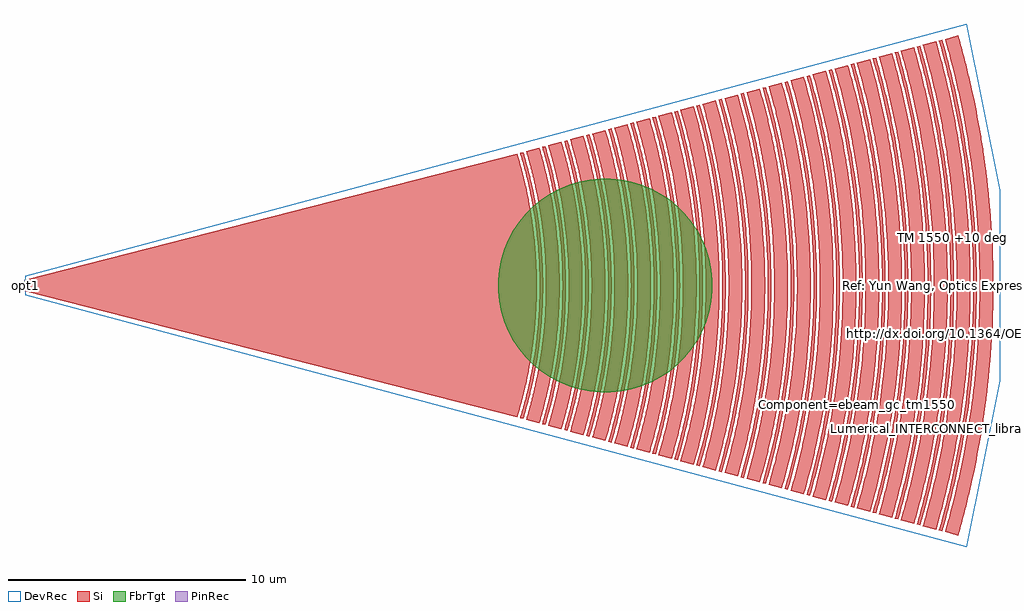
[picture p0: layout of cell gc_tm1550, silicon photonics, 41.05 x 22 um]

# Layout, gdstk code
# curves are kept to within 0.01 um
import gdstk
lib = gdstk.Library(unit=1e-6, precision=1e-09)
def R(c, l, rs):  # rectangles x0, y0, x1, y1
    for r in rs: c.add(gdstk.rectangle(r[:2], r[2:], *l))
def P(c, l, *ps):  # polygons
    for p in ps: c.add(gdstk.Polygon(p, *l))
Si = (1, 0)
PinRec = (1, 10)
DevRec = (68, 0)
FbrTgt = (81, 0)

gc_tm1550 = lib.new_cell('gc_tm1550')
P(gc_tm1550, Si, [(102.697,-5.546),(82,-0.25),(82,0.25),(102.697,5.546),(102.881,4.898),(103.042,4.243),(103.159,3.693),(103.295,2.917),(103.386,2.248),(103.449,1.632),(103.5,0.845),(103.518,0.169),(103.512,-0.507),(103.471,-1.351),(103.399,-2.136),(103.32,-2.75),(103.201,-3.472),(103.067,-4.133),(102.881,-4.898)],
  [(102.951,-5.614),(102.815,-5.577),(103.015,-4.871),(103.223,-3.991),(103.371,-3.213),(103.508,-2.261),(103.611,-1.076),(103.641,-0.057),(103.611,1.076),(103.508,2.261),(103.371,3.213),(103.223,3.991),(103.015,4.871),(102.815,5.577),(102.951,5.614),(103.151,4.903),(103.312,4.239),(103.46,3.514),(103.572,2.84),(103.66,2.162),(103.733,1.367),(103.767,0.741),(103.781,0.057),(103.771,-0.627),(103.733,-1.367),(103.66,-2.162),(103.572,-2.84),(103.46,-3.514),(103.312,-4.239),(103.151,-4.903)],
  [(103.624,-5.794),(103.069,-5.645),(103.381,-4.486),(103.621,-3.308),(103.782,-2.174),(103.833,-1.661),(103.882,-0.917),(103.903,-0.172),(103.887,0.803),(103.833,1.661),(103.748,2.459),(103.621,3.308),(103.481,4.039),(103.285,4.875),(103.069,5.645),(103.624,5.794),(103.816,5.117),(104.009,4.318),(104.159,3.569),(104.255,2.989),(104.341,2.348),(104.416,1.587),(104.459,0.882),(104.478,0.177),(104.47,-0.588),(104.437,-1.294),(104.367,-2.114),(104.272,-2.873),(104.159,-3.569),(104.009,-4.318),(103.816,-5.117)],
  [(103.878,-5.862),(103.743,-5.826),(103.95,-5.088),(104.154,-4.226),(104.32,-3.356),(104.441,-2.537),(104.507,-1.949),(104.563,-1.242),(104.601,-0.059),(104.594,0.532),(104.563,1.242),(104.507,1.949),(104.441,2.537),(104.32,3.356),(104.154,4.226),(103.95,5.088),(103.743,5.826),(103.878,5.862),(104.116,5.004),(104.279,4.31),(104.418,3.611),(104.524,2.965),(104.622,2.198),(104.691,1.428),(104.724,0.833),(104.741,0.06),(104.734,-0.536),(104.691,-1.428),(104.622,-2.198),(104.524,-2.965),(104.418,-3.611),(104.279,-4.31),(104.116,-5.004)],
  [(104.552,-6.043),(103.996,-5.894),(104.16,-5.32),(104.334,-4.625),(104.56,-3.513),(104.654,-2.922),(104.744,-2.21),(104.8,-1.614),(104.844,-0.898),(104.863,-0.18),(104.849,0.778),(104.8,1.614),(104.702,2.566),(104.56,3.513),(104.412,4.275),(104.25,4.973),(103.996,5.894),(104.552,6.043),(104.735,5.395),(104.911,4.682),(105.062,3.963),(105.188,3.238),(105.281,2.57),(105.378,1.594),(105.421,0.859),(105.438,0.184),(105.433,-0.491),(105.387,-1.471),(105.329,-2.144),(105.233,-2.935),(105.128,-3.601),(104.951,-4.503),(104.766,-5.277)],
  [(104.805,-6.111),(104.67,-6.074),(104.885,-5.304),(105.11,-4.346),(105.28,-3.438),(105.395,-2.645),(105.469,-1.971),(105.525,-1.233),(105.561,-0.062),(105.554,0.555),(105.525,1.233),(105.469,1.971),(105.395,2.645),(105.28,3.438),(105.11,4.346),(104.885,5.304),(104.67,6.074),(104.805,6.111),(105.006,5.396),(105.168,4.735),(105.309,4.068),(105.457,3.213),(105.542,2.599),(105.64,1.612),(105.686,0.806),(105.701,0.062),(105.686,-0.806),(105.649,-1.488),(105.584,-2.229),(105.493,-2.968),(105.366,-3.763),(105.195,-4.614),(105.006,-5.396)],
  [(105.479,-6.291),(104.923,-6.142),(105.061,-5.664),(105.26,-4.88),(105.519,-3.599),(105.606,-3.045),(105.706,-2.241),(105.767,-1.558),(105.806,-0.873),(105.823,-0.187),(105.806,0.873),(105.742,1.869),(105.656,2.674),(105.519,3.599),(105.368,4.394),(105.141,5.364),(104.923,6.142),(105.479,6.291),(105.701,5.494),(105.893,4.688),(106.043,3.937),(106.167,3.182),(106.243,2.612),(106.336,1.659),(106.383,0.83),(106.398,0.128),(106.383,-0.83),(106.345,-1.532),(106.285,-2.231),(106.167,-3.182),(106.043,-3.937),(105.893,-4.688),(105.701,-5.494)],
  [(105.732,-6.359),(105.597,-6.323),(105.852,-5.397),(106.04,-4.586),(106.219,-3.641),(106.357,-2.689),(106.437,-1.923),(106.484,-1.283),(106.521,-0.064),(106.512,0.642),(106.484,1.283),(106.437,1.923),(106.357,2.689),(106.219,3.641),(106.04,4.586),(105.852,5.397),(105.597,6.323),(105.732,6.359),(105.957,5.553),(106.094,4.99),(106.266,4.17),(106.418,3.28),(106.526,2.448),(106.598,1.677),(106.64,0.968),(106.661,0.065),(106.645,-0.839),(106.598,-1.677),(106.526,-2.448),(106.418,-3.28),(106.302,-3.98),(106.094,-4.99),(105.957,-5.553)],
  [(106.406,-6.54),(105.851,-6.391),(106.06,-5.643),(106.214,-5.014),(106.468,-3.744),(106.585,-2.975),(106.655,-2.396),(106.725,-1.621),(106.765,-0.908),(106.783,-0.13),(106.765,0.908),(106.71,1.815),(106.61,2.782),(106.468,3.744),(106.298,4.635),(106.092,5.518),(105.851,6.391),(106.406,6.54),(106.603,5.838),(106.821,4.937),(107.002,4.027),(107.119,3.307),(107.22,2.517),(107.308,1.526),(107.347,0.73),(107.358,0.133),(107.347,-0.73),(107.308,-1.526),(107.22,-2.517),(107.119,-3.307),(107.002,-4.027),(106.821,-4.937),(106.603,-5.838)],
  [(106.66,-6.608),(106.525,-6.571),(106.772,-5.674),(106.997,-4.701),(107.19,-3.652),(107.303,-2.861),(107.43,-1.533),(107.465,-0.867),(107.481,-0.067),(107.465,0.867),(107.43,1.533),(107.303,2.861),(107.19,3.652),(106.997,4.701),(106.772,5.674),(106.525,6.571),(106.66,6.608),(106.892,5.77),(107.064,5.054),(107.213,4.332),(107.379,3.341),(107.481,2.543),(107.57,1.542),(107.607,0.805),(107.621,0.067),(107.607,-0.805),(107.57,-1.542),(107.481,-2.543),(107.379,-3.341),(107.213,-4.332),(107.064,-5.054),(106.892,-5.77)],
  [(107.333,-6.788),(106.778,-6.639),(106.943,-6.057),(107.139,-5.275),(107.282,-4.617),(107.439,-3.756),(107.538,-3.09),(107.631,-2.287),(107.692,-1.549),(107.727,-0.876),(107.743,-0.135),(107.727,0.876),(107.678,1.751),(107.572,2.823),(107.417,3.889),(107.241,4.815),(107.028,5.732),(106.778,6.639),(107.333,6.788),(107.537,6.06),(107.702,5.393),(107.874,4.586),(108.04,3.636),(108.16,2.749),(108.246,1.858),(108.302,0.895),(108.318,0.138),(108.302,-0.895),(108.266,-1.583),(108.19,-2.476),(108.09,-3.296),(107.962,-4.112),(107.777,-5.057),(107.554,-5.994)],
  [(107.587,-6.856),(107.452,-6.82),(107.708,-5.888),(107.926,-4.946),(108.129,-3.858),(108.257,-2.968),(108.339,-2.212),(108.393,-1.522),(108.429,-0.761),(108.441,-0.069),(108.429,0.761),(108.393,1.522),(108.339,2.212),(108.257,2.968),(108.129,3.858),(107.926,4.946),(107.708,5.888),(107.452,6.82),(107.587,6.856),(107.81,6.054),(108.02,5.176),(108.172,4.427),(108.321,3.535),(108.421,2.777),(108.508,1.877),(108.564,0.904),(108.581,0.07),(108.569,-0.765),(108.528,-1.599),(108.444,-2.57),(108.341,-3.398),(108.197,-4.29),(108.02,-5.176),(107.81,-6.054)],
  [(108.261,-7.037),(107.705,-6.888),(107.876,-6.284),(108.063,-5.54),(108.24,-4.721),(108.366,-4.034),(108.491,-3.206),(108.566,-2.581),(108.63,-1.886),(108.684,-0.978),(108.703,0.14),(108.678,1.118),(108.607,2.164),(108.509,3.067),(108.366,4.034),(108.184,4.995),(107.929,6.082),(107.705,6.888),(108.261,7.037),(108.489,6.213),(108.704,5.312),(108.898,4.332),(109.012,3.628),(109.106,2.921),(109.204,1.926),(109.264,0.857),(109.278,0.143),(109.264,-0.857),(109.229,-1.57),(109.153,-2.495),(109.052,-3.346),(108.898,-4.332),(108.704,-5.312),(108.489,-6.213)],
  [(108.514,-7.104),(108.379,-7.068),(108.626,-6.172),(108.869,-5.126),(109.067,-4.069),(109.202,-3.147),(109.289,-2.363),(109.351,-1.577),(109.391,-0.717),(109.401,-0.072),(109.391,0.717),(109.36,1.434),(109.289,2.363),(109.202,3.147),(109.067,4.069),(108.869,5.126),(108.626,6.172),(108.379,7.068),(108.514,7.104),(108.744,6.273),(108.946,5.433),(109.157,4.374),(109.293,3.52),(109.407,2.591),(109.471,1.873),(109.521,1.009),(109.541,0.072),(109.526,-0.865),(109.491,-1.585),(109.407,-2.591),(109.293,-3.52),(109.157,-4.374),(108.946,-5.433),(108.744,-6.273)],
  [(109.188,-7.285),(108.633,-7.136),(108.864,-6.301),(109.002,-5.739),(109.156,-5.033),(109.315,-4.18),(109.444,-3.321),(109.529,-2.602),(109.588,-1.953),(109.646,-0.941),(109.663,0.145),(109.637,1.158),(109.57,2.17),(109.444,3.321),(109.315,4.18),(109.127,5.175),(108.917,6.091),(108.633,7.136),(109.188,7.285),(109.442,6.361),(109.661,5.427),(109.806,4.703),(109.974,3.683),(110.069,2.95),(110.167,1.92),(110.218,1.035),(110.238,0.148),(110.226,-0.813),(110.192,-1.551),(110.109,-2.583),(109.995,-3.537),(109.871,-4.339),(109.661,-5.427),(109.442,-6.361)],
  [(109.442,-7.353),(109.306,-7.317),(109.543,-6.46),(109.797,-5.378),(109.992,-4.358),(110.146,-3.331),(110.231,-2.594),(110.305,-1.706),(110.346,-0.891),(110.361,-0.074),(110.346,0.891),(110.305,1.706),(110.231,2.594),(110.146,3.331),(109.992,4.358),(109.797,5.378),(109.543,6.46),(109.306,7.317),(109.442,7.353),(109.679,6.492),(109.871,5.696),(110.065,4.747),(110.213,3.865),(110.347,2.829),(110.429,1.938),(110.483,0.97),(110.501,0.075),(110.483,-0.97),(110.429,-1.938),(110.355,-2.755),(110.245,-3.643),(110.065,-4.747),(109.903,-5.55),(109.716,-6.348)],
  [(110.115,-7.533),(109.56,-7.385),(109.761,-6.665),(109.991,-5.72),(110.144,-4.988),(110.3,-4.103),(110.416,-3.288),(110.507,-2.469),(110.567,-1.722),(110.608,-0.899),(110.623,0.15),(110.596,1.199),(110.527,2.245),(110.416,3.288),(110.276,4.251),(110.07,5.355),(109.817,6.448),(109.56,7.385),(110.115,7.533),(110.377,6.577),(110.587,5.686),(110.78,4.713),(110.904,3.959),(111.024,3.051),(111.125,1.986),(111.174,1.146),(111.198,0.153),(111.183,-0.917),(111.141,-1.757),(111.065,-2.671),(110.937,-3.733),(110.78,-4.713),(110.587,-5.686),(110.377,-6.577)],
  [(110.369,-7.601),(110.234,-7.565),(110.515,-6.531),(110.755,-5.485),(110.953,-4.43),(111.109,-3.368),(111.209,-2.453),(111.268,-1.688),(111.308,-0.844),(111.321,-0.077),(111.308,0.844),(111.268,1.688),(111.209,2.453),(111.128,3.216),(110.978,4.279),(110.786,5.335),(110.552,6.382),(110.234,7.565),(110.369,7.601),(110.633,6.637),(110.828,5.813),(110.997,4.983),(111.164,3.995),(111.285,3.078),(111.381,2.08),(111.433,1.234),(111.461,0.077),(111.45,-0.771),(111.403,-1.773),(111.334,-2.618),(111.208,-3.69),(111.079,-4.528),(110.877,-5.587),(110.633,-6.637)],
  [(111.043,-7.782),(110.487,-7.633),(110.733,-6.739),(110.948,-5.837),(111.118,-5.003),(111.25,-4.241),(111.37,-3.398),(111.456,-2.629),(111.52,-1.857),(111.565,-1.007),(111.583,0.155),(111.562,1.084),(111.497,2.166),(111.37,3.398),(111.2,4.546),(111.013,5.534),(110.771,6.589),(110.487,7.633),(111.043,7.782),(111.293,6.871),(111.545,5.796),(111.741,4.79),(111.878,3.933),(112.013,2.837),(112.094,1.893),(112.145,0.868),(112.158,0.158),(112.145,-0.868),(112.094,-1.893),(112.013,-2.837),(111.9,-3.777),(111.741,-4.79),(111.545,-5.796),(111.293,-6.871)],
  [(111.296,-7.85),(111.161,-7.814),(111.451,-6.745),(111.73,-5.51),(111.928,-4.419),(112.082,-3.321),(112.158,-2.612),(112.236,-1.585),(112.27,-0.793),(112.281,-0.079),(112.27,0.793),(112.236,1.585),(112.158,2.612),(112.082,3.321),(111.928,4.419),(111.73,5.51),(111.451,6.745),(111.161,7.814),(111.296,7.85),(111.568,6.853),(111.803,5.847),(112.014,4.754),(112.138,3.968),(112.266,2.941),(112.356,1.91),(112.402,1.035),(112.421,0.08),(112.402,-1.035),(112.356,-1.91),(112.266,-2.941),(112.138,-3.968),(112.014,-4.754),(111.803,-5.847),(111.568,-6.853)],
  [(111.97,-8.03),(111.415,-7.882),(111.648,-7.036),(111.872,-6.105),(112.079,-5.087),(112.248,-4.063),(112.343,-3.35),(112.448,-2.316),(112.518,-1.199),(112.543,-0.16),(112.53,0.879),(112.478,1.917),(112.388,2.953),(112.248,4.063),(112.079,5.087),(111.872,6.105),(111.648,7.036),(111.415,7.882),(111.97,8.03),(112.187,7.247),(112.453,6.14),(112.646,5.183),(112.818,4.139),(112.924,3.332),(113.028,2.279),(113.096,1.14),(113.118,0.163),(113.102,-0.977),(113.052,-1.954),(112.977,-2.846),(112.841,-3.978),(112.689,-4.943),(112.47,-6.061),(112.227,-7.09)],
  [(112.223,-8.098),(112.088,-8.062),(112.367,-7.039),(112.641,-5.845),(112.824,-4.882),(113.006,-3.67),(113.107,-2.776),(113.185,-1.798),(113.227,-0.9),(113.241,-0.082),(113.227,0.9),(113.185,1.798),(113.107,2.776),(113.006,3.67),(112.824,4.882),(112.641,5.845),(112.367,7.039),(112.088,8.062),(112.223,8.098),(112.483,7.15),(112.745,6.032),(112.934,5.066),(113.09,4.093),(113.23,2.952),(113.314,1.97),(113.367,0.904),(113.381,0.082),(113.367,-0.904),(113.314,-1.97),(113.23,-2.952),(113.09,-4.093),(112.934,-5.066),(112.745,-6.032),(112.483,-7.15)],
  [(112.897,-8.279),(112.342,-8.13),(112.602,-7.178),(112.865,-6.055),(113.069,-5.004),(113.223,-4.027),(113.352,-2.964),(113.436,-1.978),(113.484,-1.072),(113.503,-0.165),(113.492,0.825),(113.436,1.978),(113.352,2.964),(113.223,4.027),(113.069,5.004),(112.865,6.055),(112.602,7.178),(112.342,8.13),(112.897,8.279),(113.162,7.309),(113.394,6.33),(113.577,5.426),(113.757,4.35),(113.907,3.185),(113.992,2.265),(114.052,1.259),(114.078,0.168),(114.064,-0.924),(114.01,-2.014),(113.907,-3.185),(113.793,-4.101),(113.622,-5.178),(113.394,-6.33),(113.162,-7.309)],
  [(113.151,-8.347),(113.016,-8.311),(113.302,-7.255),(113.584,-6.025),(113.8,-4.866),(113.97,-3.699),(114.079,-2.694),(114.138,-1.937),(114.184,-1.011),(114.201,-0.084),(114.184,1.011),(114.138,1.937),(114.079,2.694),(113.97,3.699),(113.8,4.866),(113.584,6.025),(113.302,7.255),(113.016,8.311),(113.151,8.347),(113.375,7.533),(113.633,6.465),(113.836,5.47),(114.017,4.386),(114.168,3.211),(114.26,2.199),(114.321,1.1),(114.341,0.085),(114.324,-1.016),(114.272,-2.03),(114.177,-3.127),(114.065,-4.051),(113.896,-5.137),(113.687,-6.217),(113.459,-7.205)],
  [(113.824,-8.527),(113.269,-8.379),(113.558,-7.315),(113.753,-6.489),(113.972,-5.408),(114.151,-4.318),(114.29,-3.223),(114.376,-2.292),(114.44,-1.19),(114.463,-0.17),(114.449,0.935),(114.4,1.953),(114.299,3.138),(114.175,4.15),(114.017,5.157),(113.807,6.24),(113.558,7.315),(113.269,8.379),(113.824,8.527),(114.097,7.528),(114.335,6.52),(114.539,5.503),(114.721,4.395),(114.862,3.28),(114.956,2.247),(115.018,1.124),(115.038,0.173),(115.024,-0.951),(114.974,-1.988),(114.889,-3.022),(114.757,-4.138),(114.599,-5.163),(114.371,-6.351),(114.139,-7.361)],
  [(114.078,-8.595),(113.943,-8.559),(114.279,-7.304),(114.527,-6.205),(114.749,-5.011),(114.934,-3.723),(115.043,-2.688),(115.107,-1.822),(115.149,-0.868),(115.161,-0.087),(115.149,0.868),(115.107,1.822),(115.043,2.688),(114.934,3.723),(114.749,5.011),(114.527,6.205),(114.279,7.304),(113.943,8.559),(114.078,8.595),(114.331,7.672),(114.592,6.572),(114.782,5.633),(114.981,4.43),(115.123,3.306),(115.218,2.265),(115.277,1.22),(115.301,0.087),(115.277,-1.22),(115.218,-2.265),(115.123,-3.306),(114.981,-4.43),(114.782,-5.633),(114.592,-6.572),(114.331,-7.672)],
  [(114.752,-8.776),(114.196,-8.627),(114.493,-7.531),(114.731,-6.511),(114.934,-5.482),(115.115,-4.36),(115.245,-3.318),(115.34,-2.273),(115.406,-1.05),(115.423,-0.175),(115.406,1.05),(115.358,2.011),(115.272,3.057),(115.115,4.36),(114.934,5.482),(114.731,6.511),(114.493,7.531),(114.196,8.627),(114.752,8.776),(115.053,7.661),(115.295,6.623),(115.517,5.489),(115.685,4.435),(115.817,3.375),(115.907,2.401),(115.974,1.246),(115.998,0.178),(115.986,-0.89),(115.92,-2.223),(115.836,-3.198),(115.685,-4.435),(115.517,-5.489),(115.295,-6.623),(115.053,-7.661)],
  [(115.005,-8.844),(114.87,-8.808),(115.194,-7.602),(115.452,-6.472),(115.698,-5.156),(115.866,-4.008),(115.984,-2.943),(116.06,-1.964),(116.106,-0.982),(116.121,-0.089),(116.106,0.982),(116.06,1.964),(115.984,2.943),(115.866,4.008),(115.698,5.156),(115.452,6.472),(115.194,7.602),(114.87,8.808),(115.005,8.844),(115.309,7.721),(115.571,6.586),(115.776,5.531),(115.945,4.469),(116.088,3.312),(116.182,2.24),(116.243,1.076),(116.261,0.09),(116.243,-1.076),(116.182,-2.24),(116.088,-3.312),(115.945,-4.469),(115.776,-5.531),(115.571,-6.586),(115.309,-7.721)],
  [(115.679,-9.024),(115.124,-8.875),(115.384,-7.922),(115.653,-6.786),(115.849,-5.816),(116.054,-4.574),(116.21,-3.324),(116.291,-2.428),(116.355,-1.35),(116.383,-0.18),(116.371,0.9),(116.322,1.979),(116.237,3.056),(116.079,4.396),(115.897,5.551),(115.691,6.61),(115.45,7.661),(115.124,8.875),(115.679,9.024),(115.966,7.967),(116.217,6.899),(116.432,5.824),(116.624,4.651),(116.782,3.38),(116.878,2.286),(116.937,1.189),(116.958,0.183),(116.943,-1.007),(116.896,-2.012),(116.818,-3.016),(116.662,-4.379),(116.48,-5.554),(116.255,-6.721),(115.966,-7.967)],
  [(115.933,-9.092),(115.797,-9.056),(116.13,-7.817),(116.413,-6.565),(116.647,-5.302),(116.831,-4.03),(116.957,-2.843),(117.024,-1.927),(117.068,-0.918),(117.081,-0.092),(117.068,0.918),(117.024,1.927),(116.957,2.843),(116.831,4.03),(116.647,5.302),(116.413,6.565),(116.13,7.817),(115.797,9.056),(115.933,9.092),(116.199,8.116),(116.494,6.861),(116.691,5.867),(116.884,4.685),(117.053,3.313),(117.14,2.303),(117.199,1.198),(117.221,0.092),(117.199,-1.198),(117.14,-2.303),(117.053,-3.313),(116.91,-4.503),(116.755,-5.505),(116.494,-6.861),(116.199,-8.116)],
  [(116.606,-9.273),(116.051,-9.124),(116.341,-8.055),(116.614,-6.885),(116.828,-5.797),(116.992,-4.793),(117.125,-3.785),(117.234,-2.68),(117.306,-1.572),(117.343,-0.185),(117.333,0.833),(117.286,1.942),(117.202,3.049),(117.044,4.427),(116.876,5.524),(116.614,6.885),(116.341,8.055),(116.051,9.124),(116.606,9.273),(116.946,8.004),(117.178,6.997),(117.395,5.891),(117.575,4.778),(117.728,3.566),(117.836,2.349),(117.889,1.41),(117.918,0.188),(117.908,-0.846),(117.86,-1.973),(117.766,-3.192),(117.627,-4.406),(117.428,-5.706),(117.178,-6.997),(116.946,-8.004)],
  [(116.86,-9.341),(116.725,-9.304),(117.043,-8.122),(117.337,-6.837),(117.596,-5.447),(117.773,-4.234),(117.888,-3.203),(117.971,-2.169),(118.022,-1.132),(118.041,-0.094),(118.028,0.943),(117.977,2.074),(117.888,3.203),(117.773,4.234),(117.596,5.447),(117.337,6.837),(117.043,8.122),(116.725,9.304),(116.86,9.341),(117.202,8.062),(117.455,6.956),(117.687,5.748),(117.849,4.72),(117.999,3.498),(118.098,2.366),(118.162,1.136),(118.181,0.095),(118.162,-1.136),(118.098,-2.366),(117.999,-3.498),(117.849,-4.72),(117.687,-5.748),(117.455,-6.956),(117.202,-8.062)],
  [(117.534,-9.521),(116.978,-9.372),(117.321,-8.09),(117.575,-6.98),(117.775,-5.955),(117.957,-4.83),(118.09,-3.793),(118.199,-2.658),(118.265,-1.615),(118.303,-0.19),(118.281,1.235),(118.22,2.374),(118.111,3.604),(117.957,4.83),(117.775,5.955),(117.575,6.98),(117.321,8.09),(116.978,9.372),(117.534,9.521),(117.835,8.405),(118.099,7.279),(118.325,6.144),(118.513,5.002),(118.662,3.853),(118.78,2.604),(118.852,1.351),(118.878,0.193),(118.865,-0.965),(118.807,-2.219),(118.703,-3.469),(118.567,-4.619),(118.392,-5.764),(118.159,-6.996),(117.882,-8.218)],
  [(117.787,-9.589),(117.652,-9.553),(117.978,-8.339),(118.299,-6.924),(118.545,-5.592),(118.714,-4.443),(118.825,-3.481),(118.923,-2.323),(118.978,-1.259),(119.001,-0.097),(118.978,1.259),(118.923,2.323),(118.825,3.481),(118.714,4.443),(118.545,5.592),(118.299,6.924),(117.978,8.339),(117.652,9.553),(117.787,9.589),(118.091,8.465),(118.377,7.236),(118.584,6.188),(118.787,4.941),(118.923,3.881),(119.049,2.526),(119.118,1.264),(119.141,0.097),(119.118,-1.264),(119.056,-2.429),(118.944,-3.687),(118.814,-4.749),(118.635,-5.901),(118.377,-7.236),(118.091,-8.465)],
  [(118.461,-9.77),(117.906,-9.621),(118.234,-8.398),(118.497,-7.26),(118.722,-6.112),(118.922,-4.861),(119.045,-3.894),(119.164,-2.631),(119.233,-1.463),(119.263,-0.195),(119.244,1.17),(119.185,2.339),(119.066,3.7),(118.922,4.861),(118.722,6.112),(118.497,7.26),(118.234,8.398),(117.906,9.621),(118.461,9.77),(118.77,8.624),(119.061,7.372),(119.289,6.207),(119.464,5.132),(119.594,4.15),(119.73,2.771),(119.803,1.584),(119.838,0.198),(119.822,-1.089),(119.765,-2.277),(119.659,-3.56),(119.506,-4.838),(119.289,-6.207),(119.061,-7.372),(118.77,-8.624)],
  [(118.714,-9.838),(118.579,-9.801),(118.937,-8.46),(119.222,-7.201),(119.461,-5.933),(119.667,-4.558),(119.8,-3.374),(119.881,-2.383),(119.941,-1.192),(119.961,-0.099),(119.95,0.894),(119.911,1.887),(119.836,2.978),(119.692,4.361),(119.494,5.737),(119.262,7.007),(118.937,8.46),(118.579,9.801),(118.714,9.838),(119.001,8.781),(119.276,7.618),(119.548,6.25),(119.724,5.168),(119.91,3.684),(120.014,2.492),(120.081,1.197),(120.101,0.1),(120.081,-1.197),(120.014,-2.492),(119.91,-3.684),(119.766,-4.871),(119.548,-6.25),(119.339,-7.326),(119.001,-8.781)],
  [(119.388,-10.018),(118.833,-9.869),(119.145,-8.712),(119.459,-7.349),(119.669,-6.27),(119.874,-4.986),(120.032,-3.696),(120.129,-2.599),(120.2,-1.301),(120.223,-0.2),(120.2,1.301),(120.143,2.4),(120.032,3.696),(119.874,4.986),(119.669,6.27),(119.459,7.349),(119.145,8.712),(118.833,9.869),(119.388,10.018),(119.729,8.745),(119.981,7.658),(120.254,6.264),(120.444,5.061),(120.604,3.751),(120.71,2.537),(120.778,1.219),(120.798,0.203),(120.778,-1.219),(120.71,-2.537),(120.604,-3.751),(120.458,-4.961),(120.254,-6.264),(120.044,-7.361),(119.729,-8.745)],
  [(119.642,-10.086),(119.507,-10.05),(119.873,-8.674),(120.185,-7.284),(120.426,-5.983),(120.633,-4.572),(120.766,-3.357),(120.839,-2.444),(120.897,-1.324),(120.921,-0.102),(120.904,1.121),(120.852,2.24),(120.766,3.357),(120.633,4.572),(120.426,5.983),(120.185,7.284),(119.873,8.674),(119.507,10.05),(119.642,10.086),(119.985,8.804),(120.26,7.61),(120.513,6.307),(120.704,5.095),(120.876,3.675),(120.957,2.758),(121.037,1.329),(121.061,0.102),(121.037,-1.329),(120.957,-2.758),(120.876,-3.675),(120.704,-5.095),(120.513,-6.307),(120.26,-7.61),(119.985,-8.804)],
  [(120.316,-10.267),(119.76,-10.118),(120.029,-9.13),(120.337,-7.835),(120.598,-6.528),(120.811,-5.213),(120.954,-4.094),(121.079,-2.767),(121.147,-1.641),(121.183,-0.205),(121.172,0.923),(121.114,2.255),(121.018,3.482),(120.867,4.807),(120.651,6.225),(120.422,7.434),(120.104,8.832),(119.76,10.118),(120.316,10.267),(120.639,9.063),(120.944,7.746),(121.165,6.624),(121.381,5.29),(121.549,3.947),(121.66,2.704),(121.726,1.561),(121.758,0.208),(121.741,-1.145),(121.675,-2.496),(121.549,-3.947),(121.41,-5.083),(121.219,-6.317),(120.987,-7.543),(120.714,-8.76)],
  [(120.569,-10.335),(120.434,-10.298),(120.733,-9.192),(121.086,-7.668),(121.34,-6.336),(121.573,-4.789),(121.692,-3.752),(121.804,-2.4),(121.86,-1.253),(121.881,-0.104),(121.86,1.253),(121.804,2.4),(121.692,3.752),(121.573,4.789),(121.34,6.336),(121.086,7.668),(120.733,9.192),(120.434,10.298),(120.569,10.335),(120.895,9.123),(121.223,7.695),(121.442,6.565),(121.656,5.221),(121.821,3.869),(121.937,2.513),(122,1.257),(122.021,0.105),(122,-1.257),(121.937,-2.513),(121.821,-3.869),(121.656,-5.221),(121.442,-6.565),(121.223,-7.695),(120.895,-9.123)],
  [(121.243,-10.515),(120.687,-10.366),(121.014,-9.151),(121.365,-7.616),(121.599,-6.378),(121.792,-5.133),(121.943,-3.881),(122.052,-2.625),(122.119,-1.366),(122.143,-0.21),(122.126,1.156),(122.066,2.415),(121.943,3.881),(121.792,5.133),(121.599,6.378),(121.365,7.616),(121.014,9.151),(120.687,10.366),(121.243,10.515),(121.574,9.282),(121.841,8.142),(122.073,6.994),(122.317,5.523),(122.481,4.255),(122.602,2.982),(122.685,1.599),(122.718,0.213),(122.697,-1.279),(122.64,-2.45),(122.526,-3.831),(122.362,-5.206),(122.13,-6.679),(121.907,-7.83),(121.574,-9.282)])
R(gc_tm1550, PinRec, [(81.95,-0.25,82.05,0.25)])
P(gc_tm1550, DevRec, [(121.6,-11),(82,-0.4),(82,0.4),(121.6,11),(123,4),(123,-4)])
P(gc_tm1550, FbrTgt, [(106.179,-4.5),(105.739,-4.457),(105.305,-4.37),(104.882,-4.242),(104.474,-4.073),(104.084,-3.864),(103.716,-3.619),(103.374,-3.338),(103.062,-3.026),(102.781,-2.684),(102.536,-2.316),(102.327,-1.926),(102.158,-1.518),(102.03,-1.095),(101.943,-0.661),(101.9,-0.221),(101.9,0.221),(101.943,0.661),(102.03,1.095),(102.158,1.518),(102.327,1.926),(102.536,2.316),(102.781,2.684),(103.062,3.026),(103.374,3.338),(103.716,3.619),(104.084,3.864),(104.474,4.073),(104.882,4.242),(105.305,4.37),(105.739,4.457),(106.179,4.5),(106.621,4.5),(107.061,4.457),(107.495,4.37),(107.918,4.242),(108.326,4.073),(108.716,3.864),(109.084,3.619),(109.426,3.338),(109.738,3.026),(110.019,2.684),(110.264,2.316),(110.473,1.926),(110.642,1.518),(110.77,1.095),(110.857,0.661),(110.9,0.221),(110.9,-0.221),(110.857,-0.661),(110.77,-1.095),(110.642,-1.518),(110.473,-1.926),(110.264,-2.316),(110.019,-2.684),(109.738,-3.026),(109.426,-3.338),(109.084,-3.619),(108.716,-3.864),(108.326,-4.073),(107.918,-4.242),(107.495,-4.37),(107.061,-4.457),(106.621,-4.5)])
gc_tm1550.add(gdstk.Label('Component=ebeam_gc_tm1550', (117,-5), layer=68, texttype=0))
gc_tm1550.add(gdstk.Label('Lumerical_INTERCONNECT_library=Design kits/ebeam', (120,-6), layer=68, texttype=0))
gc_tm1550.add(gdstk.Label('opt1', (82,0), layer=1, texttype=10))
gc_tm1550.add(gdstk.Label('Ref: Yun Wang, Optics Express, 08/2014', (121,0), layer=10, texttype=0))
gc_tm1550.add(gdstk.Label('http://dx.doi.org/10.1364/OE.22.020652', (121,-2), layer=10, texttype=0))
gc_tm1550.add(gdstk.Label('TM 1550 +10 deg', (121,2), layer=10, texttype=0))

lib.write_gds('gc_tm1550.gds')
